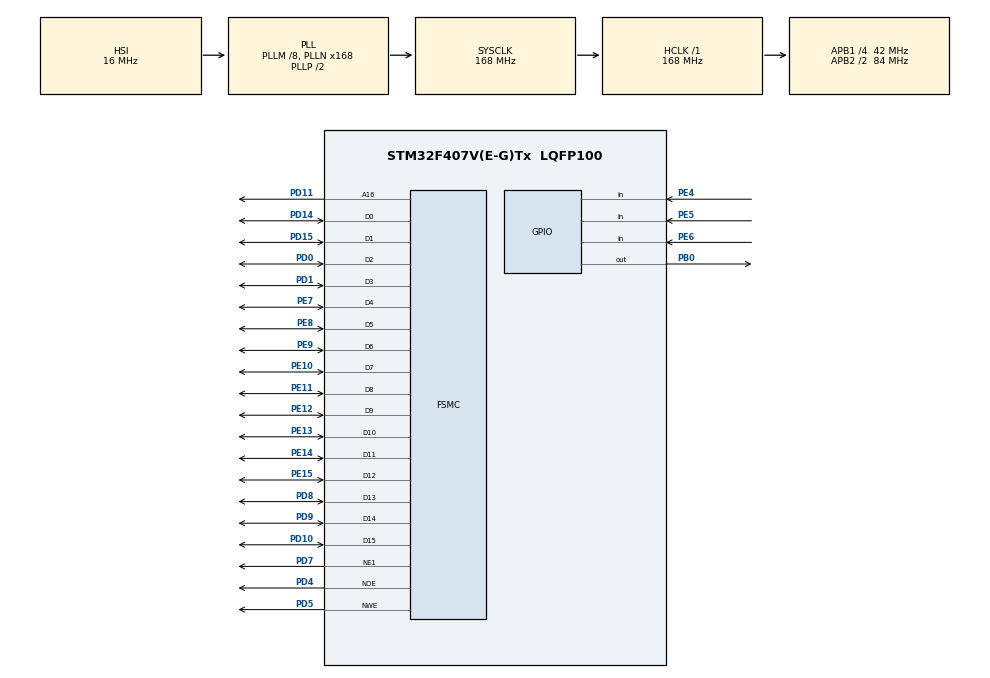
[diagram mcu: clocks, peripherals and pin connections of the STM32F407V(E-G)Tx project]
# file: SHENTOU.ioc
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Dma.MEMTOMEM.0.Direction=DMA_MEMORY_TO_MEMORY
Dma.MEMTOMEM.0.FIFOMode=DMA_FIFOMODE_ENABLE
Dma.MEMTOMEM.0.FIFOThreshold=DMA_FIFO_THRESHOLD_FULL
Dma.MEMTOMEM.0.Instance=DMA2_Stream0
Dma.MEMTOMEM.0.MemBurst=DMA_MBURST_SINGLE
Dma.MEMTOMEM.0.MemDataAlignment=DMA_MDATAALIGN_HALFWORD
Dma.MEMTOMEM.0.MemInc=DMA_MINC_DISABLE
Dma.MEMTOMEM.0.Mode=DMA_NORMAL
Dma.MEMTOMEM.0.PeriphBurst=DMA_PBURST_SINGLE
Dma.MEMTOMEM.0.PeriphDataAlignment=DMA_PDATAALIGN_HALFWORD
Dma.MEMTOMEM.0.PeriphInc=DMA_PINC_ENABLE
Dma.MEMTOMEM.0.Priority=DMA_PRIORITY_MEDIUM
Dma.Request0=MEMTOMEM
FSMC.ExtendedMode1=FSMC_EXTENDED_MODE_ENABLE
Mcu.Family=STM32F4
Mcu.Name=STM32F407V(E-G)Tx
Mcu.Package=LQFP100
NVIC.DMA2_Stream0_IRQn=true\:0\:0\:true\:false\:true\:true\:true\:true
NVIC.PriorityGroup=NVIC_PRIORITYGROUP_4
PA13.Mode=Serial_Wire
PA13.Signal=SYS_JTMS-SWDIO
PA14.Mode=Serial_Wire
PA14.Signal=SYS_JTCK-SWCLK
PB0.Signal=GPIO_Output
PD0.Mode=16b-d1
PD0.Signal=FSMC_D2
PD1.Mode=16b-d1
PD1.Signal=FSMC_D3
PD10.Mode=16b-d1
PD10.Signal=FSMC_D15
PD11.Mode=A16_1
PD11.Signal=FSMC_A16
PD14.Mode=16b-d1
PD14.Signal=FSMC_D0
PD15.Mode=16b-d1
PD15.Signal=FSMC_D1
PD4.Mode=Lcd1
PD4.Signal=FSMC_NOE
PD5.Mode=Lcd1
PD5.Signal=FSMC_NWE
PD7.Mode=NorPsramChipSelect1_1
PD7.Signal=FSMC_NE1
PD8.Mode=16b-d1
PD8.Signal=FSMC_D13
PD9.Mode=16b-d1
PD9.Signal=FSMC_D14
PE10.Mode=16b-d1
PE10.Signal=FSMC_D7
PE11.Mode=16b-d1
PE11.Signal=FSMC_D8
PE12.Mode=16b-d1
PE12.Signal=FSMC_D9
PE13.Mode=16b-d1
PE13.Signal=FSMC_D10
PE14.Mode=16b-d1
PE14.Signal=FSMC_D11
PE15.Mode=16b-d1
PE15.Signal=FSMC_D12
PE4.Signal=GPIO_Input
PE5.Signal=GPIO_Input
PE6.Signal=GPIO_Input
PE7.Mode=16b-d1
PE7.Signal=FSMC_D4
PE8.Mode=16b-d1
PE8.Signal=FSMC_D5
PE9.Mode=16b-d1
PE9.Signal=FSMC_D6
PH0-OSC_IN.Mode=HSE-External-Oscillator
PH0-OSC_IN.Signal=RCC_OSC_IN
PH1-OSC_OUT.Mode=HSE-External-Oscillator
PH1-OSC_OUT.Signal=RCC_OSC_OUT
ProjectManager.HeapSize=0x800
ProjectManager.StackSize=0x1000
ProjectManager.TargetToolchain=MDK-ARM V5.32
RCC.48MHZClocksFreq_Value=84000000
RCC.AHBFreq_Value=168000000
RCC.APB1CLKDivider=RCC_HCLK_DIV4
RCC.APB1Freq_Value=42000000
RCC.APB1TimFreq_Value=84000000
RCC.APB2CLKDivider=RCC_HCLK_DIV2
RCC.APB2Freq_Value=84000000
RCC.APB2TimFreq_Value=168000000
RCC.CortexFreq_Value=168000000
RCC.HCLKFreq_Value=168000000
RCC.HSE_VALUE=25000000
RCC.HSI_VALUE=16000000
RCC.LSE_VALUE=32768
RCC.PLLM=8
RCC.PLLN=168
RCC.SYSCLKFreq_VALUE=168000000
RCC.SYSCLKSource=RCC_SYSCLKSOURCE_PLLCLK
RCC.VCOOutputFreq_Value=336000000
board=custom

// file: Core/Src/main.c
/* USER CODE BEGIN Header */
/**
  ******************************************************************************
  * @file           : main.c
  * @brief          : Main program body
  ******************************************************************************
  * @attention
  *
  * Copyright (c) 2024 STMicroelectronics.
  * All rights reserved.
  *
  * This software is licensed under terms that can be found in the LICENSE file
  * in the root directory of this software component.
  * If no LICENSE file comes with this software, it is provided AS-IS.
  *
  ******************************************************************************
  */
/* USER CODE END Header */
#include "main.h"
#include "dma.h"
#include "gpio.h"
#include "fsmc.h"

/* USER CODE BEGIN Includes */
#include "LCD.h"
#include "touch.h"
#include "delay.h"
#include "24cxx.h"
#include "lvgl.h"
#include "lv_port_indev_template.h"
#include "lv_port_disp_template.h"
#include "lv_demo_stress.h"
#include "gui_guider.h"
#include "events_init.h"

lv_ui guider_ui;

/* USER CODE END Includes */

/* USER CODE BEGIN PTD */

int a = 0;

void lv_ex_label(void)
{
		char* github_addr = "hahahahahahahahah";
		lv_obj_t * label = lv_label_create(lv_scr_act());
    lv_label_set_recolor(label, true);
    lv_label_set_long_mode(label, LV_LABEL_LONG_SCROLL_CIRCULAR); /*Circular scroll*/
    lv_obj_set_width(label, 120);
    lv_label_set_text_fmt(label, "#ff0000 hahahahahahahahaha %s#", github_addr);
    lv_obj_align(label, LV_ALIGN_CENTER, 0, 10);

    lv_obj_t * label2 = lv_label_create(lv_scr_act());
    lv_label_set_recolor(label2, true);
    lv_label_set_long_mode(label2, LV_LABEL_LONG_SCROLL_CIRCULAR); /*Circular scroll*/
    lv_obj_set_width(label2, 120);
    lv_label_set_text_fmt(label2, "#ff0000 hahahahahahaha# #0000ff hahahahahahaha#");
    lv_obj_align(label2, LV_ALIGN_CENTER, 0, -10);
}

uint8_t key_scan(uint8_t mode)
{
    static uint8_t key_up = 1;  /* 按键按松开标志 */
    uint8_t keyval = 0;

    if (mode) key_up = 1;       /* 支持连按 */

    if (key_up && (KEY0 == 1 || KEY1 == 1 || KEY2 == 1))  /* 按键松开标志为1, 且有任意一个按键按下了 */
    {
        delay_ms(10);           /* 去抖动 */
        key_up = 0;

        if (KEY0 == 1)  keyval = KEY0_PRES;

        if (KEY1 == 1)  keyval = KEY1_PRES;

        if (KEY2 == 1)  keyval = KEY2_PRES;

    }
    else if (KEY0 ==0 && KEY1 == 0 && KEY2 == 0) /* 没有任何按键按下, 标记按键松开 */
    {
        key_up = 1;
    }

    return keyval;              /* 返回键值 */
}

/* USER CODE END PTD */

void SystemClock_Config(void);

int main(void)
{

  /* MCU Configuration--------------------------------------------------------*/

  /* Reset of all peripherals, Initializes the Flash interface and the Systick. */
  HAL_Init();

  /* Configure the system clock */
  SystemClock_Config();

  /* Initialize all configured peripherals */
  MX_GPIO_Init();
  MX_DMA_Init();
  MX_FSMC_Init();
  /* USER CODE BEGIN 2 */
	delay_init(168);
	lcd_init();
	tp_dev.init();
//    if (tp_dev.touchtype != 0XFF)
//    {
//        lcd_show_string(30, 110, 200, 16, 16, "Press KEY0 to Adjust", RED); /* 电阻屏才显示 */
//    }
	delay_ms(500);
lv_init();
		lv_port_disp_init();
		lv_port_indev_init();
//lv_ex_label();
setup_ui(&guider_ui);
		events_init(&guider_ui);
//		uint8_t a[4] = {1,2,3,4};
//		uint8_t b =10;

//		HAL_DMA_Start(&hdma_memtomem_dma2_stream0,(uint32_t)(&a),(uint32_t)(&b),4);
//		 while (__HAL_DMA_GET_FLAG(&hdma_memtomem_dma2_stream0, DMA_FLAG_TCIF0_4)!=HAL_OK)//如果DMA传输完成，获取标志位，返回值是1
//		 {
//				__HAL_DMA_CLEAR_FLAG(&hdma_memtomem_dma2_stream0, DMA_FLAG_TCIF0_4);  //清除标志位
//		 }

  /* USER CODE END 2 */

  /* Infinite loop */
  /* USER CODE BEGIN WHILE */
  while (1)
  {

			lv_task_handler();

    /* USER CODE END WHILE */

  }
}

void SystemClock_Config(void)
{
  RCC_OscInitTypeDef RCC_OscInitStruct = {0};
  RCC_ClkInitTypeDef RCC_ClkInitStruct = {0};

  /** Configure the main internal regulator output voltage
  */
  __HAL_RCC_PWR_CLK_ENABLE();
  __HAL_PWR_VOLTAGESCALING_CONFIG(PWR_REGULATOR_VOLTAGE_SCALE1);

  /** Initializes the RCC Oscillators according to the specified parameters
  * in the RCC_OscInitTypeDef structure.
  */
  RCC_OscInitStruct.OscillatorType = RCC_OSCILLATORTYPE_HSI;
  RCC_OscInitStruct.HSIState = RCC_HSI_ON;
  RCC_OscInitStruct.HSICalibrationValue = RCC_HSICALIBRATION_DEFAULT;
  RCC_OscInitStruct.PLL.PLLState = RCC_PLL_ON;
  RCC_OscInitStruct.PLL.PLLSource = RCC_PLLSOURCE_HSI;
  RCC_OscInitStruct.PLL.PLLM = 8;
  RCC_OscInitStruct.PLL.PLLN = 168;
  RCC_OscInitStruct.PLL.PLLP = RCC_PLLP_DIV2;
  RCC_OscInitStruct.PLL.PLLQ = 4;
  if (HAL_RCC_OscConfig(&RCC_OscInitStruct) != HAL_OK)
  {
    Error_Handler();
  }

  /** Initializes the CPU, AHB and APB buses clocks
  */
  RCC_ClkInitStruct.ClockType = RCC_CLOCKTYPE_HCLK|RCC_CLOCKTYPE_SYSCLK
                              |RCC_CLOCKTYPE_PCLK1|RCC_CLOCKTYPE_PCLK2;
  RCC_ClkInitStruct.SYSCLKSource = RCC_SYSCLKSOURCE_PLLCLK;
  RCC_ClkInitStruct.AHBCLKDivider = RCC_SYSCLK_DIV1;
  RCC_ClkInitStruct.APB1CLKDivider = RCC_HCLK_DIV4;
  RCC_ClkInitStruct.APB2CLKDivider = RCC_HCLK_DIV2;

  if (HAL_RCC_ClockConfig(&RCC_ClkInitStruct, FLASH_LATENCY_5) != HAL_OK)
  {
    Error_Handler();
  }
}

void Error_Handler(void)
{
  __disable_irq();
  while (1)
  {
  }
}
